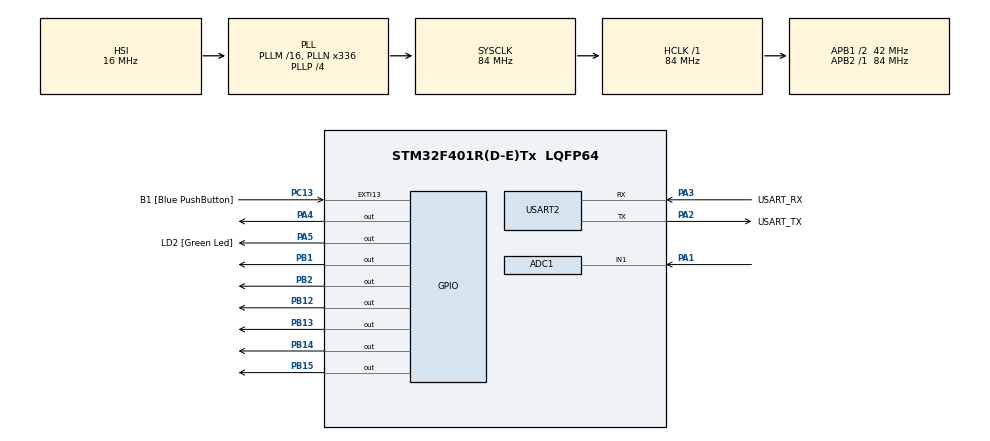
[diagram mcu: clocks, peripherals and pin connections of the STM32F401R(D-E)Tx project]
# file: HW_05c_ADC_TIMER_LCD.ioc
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ADC1.Channel-0\#ChannelRegularConversion=ADC_CHANNEL_1
ADC1.ExternalTrigConv=ADC_EXTERNALTRIGCONV_T2_TRGO
ADC1.NbrOfConversionFlag=1
ADC1.Rank-0\#ChannelRegularConversion=1
ADC1.SamplingTime-0\#ChannelRegularConversion=ADC_SAMPLETIME_480CYCLES
ADC1.master=1
Mcu.Family=STM32F4
Mcu.Name=STM32F401R(D-E)Tx
Mcu.Package=LQFP64
NVIC.ADC_IRQn=true\:0\:0\:false\:false\:true\:true\:true\:true
NVIC.PriorityGroup=NVIC_PRIORITYGROUP_0
PA1.Signal=ADCx_IN1
PA13.GPIO_Label=TMS
PA13.Mode=Serial_Wire
PA13.Signal=SYS_JTMS-SWDIO
PA14.GPIO_Label=TCK
PA14.Mode=Serial_Wire
PA14.Signal=SYS_JTCK-SWCLK
PA2.GPIO_Label=USART_TX
PA2.GPIO_Mode=GPIO_MODE_AF_PP
PA2.GPIO_PuPd=GPIO_NOPULL
PA2.GPIO_Speed=GPIO_SPEED_FREQ_LOW
PA2.Mode=Asynchronous
PA2.Signal=USART2_TX
PA3.GPIO_Label=USART_RX
PA3.GPIO_Mode=GPIO_MODE_AF_PP
PA3.GPIO_PuPd=GPIO_NOPULL
PA3.GPIO_Speed=GPIO_SPEED_FREQ_LOW
PA3.Mode=Asynchronous
PA3.Signal=USART2_RX
PA4.Signal=GPIO_Output
PA5.GPIO_Label=LD2 [Green Led]
PA5.GPIO_Mode=GPIO_MODE_OUTPUT_PP
PA5.GPIO_PuPd=GPIO_NOPULL
PA5.GPIO_Speed=GPIO_SPEED_FREQ_LOW
PA5.Signal=GPIO_Output
PB1.Signal=GPIO_Output
PB12.Signal=GPIO_Output
PB13.Signal=GPIO_Output
PB14.Signal=GPIO_Output
PB15.Signal=GPIO_Output
PB2.Signal=GPIO_Output
PB3.GPIO_Label=SWO
PB3.Signal=SYS_JTDO-SWO
PC13-ANTI_TAMP.GPIO_Label=B1 [Blue PushButton]
PC13-ANTI_TAMP.GPIO_ModeDefaultEXTI=GPIO_MODE_IT_FALLING
PC13-ANTI_TAMP.GPIO_PuPd=GPIO_NOPULL
PC13-ANTI_TAMP.Signal=GPXTI13
PC14-OSC32_IN.Mode=LSE-External-Oscillator
PC14-OSC32_IN.Signal=RCC_OSC32_IN
PC15-OSC32_OUT.Mode=LSE-External-Oscillator
PC15-OSC32_OUT.Signal=RCC_OSC32_OUT
PH0\ -\ OSC_IN.Mode=HSE-External-Clock-Source
PH0\ -\ OSC_IN.Signal=RCC_OSC_IN
PH1\ -\ OSC_OUT.Mode=HSE-External-Clock-Source
PH1\ -\ OSC_OUT.Signal=RCC_OSC_OUT
ProjectManager.HeapSize=0x200
ProjectManager.StackSize=0x400
ProjectManager.TargetToolchain=STM32CubeIDE
RCC.48MHZClocksFreq_Value=48000000
RCC.AHBFreq_Value=84000000
RCC.APB1CLKDivider=RCC_HCLK_DIV2
RCC.APB1Freq_Value=42000000
RCC.APB1TimFreq_Value=84000000
RCC.APB2Freq_Value=84000000
RCC.APB2TimFreq_Value=84000000
RCC.CortexFreq_Value=84000000
RCC.HCLKFreq_Value=84000000
RCC.HSE_VALUE=8000000
RCC.HSI_VALUE=16000000
RCC.PLLN=336
RCC.PLLP=RCC_PLLP_DIV4
RCC.PLLQ=7
RCC.SYSCLKFreq_VALUE=84000000
RCC.SYSCLKSource=RCC_SYSCLKSOURCE_PLLCLK
RCC.VCOOutputFreq_Value=336000000
SH.ADCx_IN1.0=ADC1_IN1,IN1
TIM2.Period=10000-1
TIM2.Prescaler=8400-1
TIM2.TIM_MasterOutputTrigger=TIM_TRGO_UPDATE
USART2.VirtualMode=VM_ASYNC
VP_TIM2_VS_ClockSourceINT.Mode=Internal
board=NUCLEO-F401RE

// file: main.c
/* USER CODE BEGIN Header */
/**
  ******************************************************************************
  * @file           : main.c
  * @brief          : Main program body
  ******************************************************************************
  * @attention
  *
  * Copyright (c) 2024 STMicroelectronics.
  * All rights reserved.
  *
  * This software is licensed under terms that can be found in the LICENSE file
  * in the root directory of this software component.
  * If no LICENSE file comes with this software, it is provided AS-IS.
  *
  ******************************************************************************
  */
/* USER CODE END Header */
#include "main.h"

/* USER CODE BEGIN Includes */

#include "string.h"
#include "PMDB16_LCD.h"

/* USER CODE END Includes */

/* USER CODE BEGIN PD */

#define STR_LEN 16

#define LSB 3.3/4096.0

#define BAR_STEP 80.0/4096.0

/* USER CODE END PD */

ADC_HandleTypeDef hadc1;

TIM_HandleTypeDef htim2;

UART_HandleTypeDef huart2;

/* USER CODE BEGIN PV */

char string[STR_LEN];

int digital_voltage;

float analog_voltage;

int length;

int bar_value;

/* USER CODE END PV */

void SystemClock_Config(void);
static void MX_GPIO_Init(void);
static void MX_USART2_UART_Init(void);
static void MX_ADC1_Init(void);
static void MX_TIM2_Init(void);

/* USER CODE BEGIN 0 */

void HAL_ADC_ConvCpltCallback (ADC_HandleTypeDef *hadc) {
	if (hadc == &hadc1) {
		digital_voltage = HAL_ADC_GetValue(&hadc1);
		analog_voltage = LSB*digital_voltage;
		length = snprintf(string, sizeof(string), "Voltage: %.3fV", analog_voltage);
		lcd_println(string, 0);
		lcd_drawBar(BAR_STEP*digital_voltage);
	}
}

/* USER CODE END 0 */

int main(void)
{

  /* MCU Configuration--------------------------------------------------------*/

  /* Reset of all peripherals, Initializes the Flash interface and the Systick. */
  HAL_Init();

  /* Configure the system clock */
  SystemClock_Config();

  /* Initialize all configured peripherals */
  MX_GPIO_Init();
  MX_USART2_UART_Init();
  MX_ADC1_Init();
  MX_TIM2_Init();
  /* USER CODE BEGIN 2 */

  lcd_initialize();
  lcd_backlight_ON();

  HAL_ADC_Start_IT(&hadc1);
  __HAL_TIM_SET_COUNTER(&htim2, 0);
  HAL_TIM_Base_Start(&htim2);

  /* USER CODE END 2 */

  /* Infinite loop */
  while (1)
  {

  }
}

void SystemClock_Config(void)
{
  RCC_OscInitTypeDef RCC_OscInitStruct = {0};
  RCC_ClkInitTypeDef RCC_ClkInitStruct = {0};

  /** Configure the main internal regulator output voltage
  */
  __HAL_RCC_PWR_CLK_ENABLE();
  __HAL_PWR_VOLTAGESCALING_CONFIG(PWR_REGULATOR_VOLTAGE_SCALE2);

  /** Initializes the RCC Oscillators according to the specified parameters
  * in the RCC_OscInitTypeDef structure.
  */
  RCC_OscInitStruct.OscillatorType = RCC_OSCILLATORTYPE_HSI;
  RCC_OscInitStruct.HSIState = RCC_HSI_ON;
  RCC_OscInitStruct.HSICalibrationValue = RCC_HSICALIBRATION_DEFAULT;
  RCC_OscInitStruct.PLL.PLLState = RCC_PLL_ON;
  RCC_OscInitStruct.PLL.PLLSource = RCC_PLLSOURCE_HSI;
  RCC_OscInitStruct.PLL.PLLM = 16;
  RCC_OscInitStruct.PLL.PLLN = 336;
  RCC_OscInitStruct.PLL.PLLP = RCC_PLLP_DIV4;
  RCC_OscInitStruct.PLL.PLLQ = 7;
  if (HAL_RCC_OscConfig(&RCC_OscInitStruct) != HAL_OK)
  {
    Error_Handler();
  }

  /** Initializes the CPU, AHB and APB buses clocks
  */
  RCC_ClkInitStruct.ClockType = RCC_CLOCKTYPE_HCLK|RCC_CLOCKTYPE_SYSCLK
                              |RCC_CLOCKTYPE_PCLK1|RCC_CLOCKTYPE_PCLK2;
  RCC_ClkInitStruct.SYSCLKSource = RCC_SYSCLKSOURCE_PLLCLK;
  RCC_ClkInitStruct.AHBCLKDivider = RCC_SYSCLK_DIV1;
  RCC_ClkInitStruct.APB1CLKDivider = RCC_HCLK_DIV2;
  RCC_ClkInitStruct.APB2CLKDivider = RCC_HCLK_DIV1;

  if (HAL_RCC_ClockConfig(&RCC_ClkInitStruct, FLASH_LATENCY_2) != HAL_OK)
  {
    Error_Handler();
  }
}

static void MX_ADC1_Init(void)
{

  ADC_ChannelConfTypeDef sConfig = {0};

  /** Configure the global features of the ADC (Clock, Resolution, Data Alignment and number of conversion)
  */
  hadc1.Instance = ADC1;
  hadc1.Init.ClockPrescaler = ADC_CLOCK_SYNC_PCLK_DIV4;
  hadc1.Init.Resolution = ADC_RESOLUTION_12B;
  hadc1.Init.ScanConvMode = DISABLE;
  hadc1.Init.ContinuousConvMode = DISABLE;
  hadc1.Init.DiscontinuousConvMode = DISABLE;
  hadc1.Init.ExternalTrigConvEdge = ADC_EXTERNALTRIGCONVEDGE_RISING;
  hadc1.Init.ExternalTrigConv = ADC_EXTERNALTRIGCONV_T2_TRGO;
  hadc1.Init.DataAlign = ADC_DATAALIGN_RIGHT;
  hadc1.Init.NbrOfConversion = 1;
  hadc1.Init.DMAContinuousRequests = DISABLE;
  hadc1.Init.EOCSelection = ADC_EOC_SINGLE_CONV;
  if (HAL_ADC_Init(&hadc1) != HAL_OK)
  {
    Error_Handler();
  }

  /** Configure for the selected ADC regular channel its corresponding rank in the sequencer and its sample time.
  */
  sConfig.Channel = ADC_CHANNEL_1;
  sConfig.Rank = 1;
  sConfig.SamplingTime = ADC_SAMPLETIME_480CYCLES;
  if (HAL_ADC_ConfigChannel(&hadc1, &sConfig) != HAL_OK)
  {
    Error_Handler();
  }

}

static void MX_TIM2_Init(void)
{

  TIM_ClockConfigTypeDef sClockSourceConfig = {0};
  TIM_MasterConfigTypeDef sMasterConfig = {0};

  htim2.Instance = TIM2;
  htim2.Init.Prescaler = 8400-1;
  htim2.Init.CounterMode = TIM_COUNTERMODE_UP;
  htim2.Init.Period = 10000-1;
  htim2.Init.ClockDivision = TIM_CLOCKDIVISION_DIV1;
  htim2.Init.AutoReloadPreload = TIM_AUTORELOAD_PRELOAD_DISABLE;
  if (HAL_TIM_Base_Init(&htim2) != HAL_OK)
  {
    Error_Handler();
  }
  sClockSourceConfig.ClockSource = TIM_CLOCKSOURCE_INTERNAL;
  if (HAL_TIM_ConfigClockSource(&htim2, &sClockSourceConfig) != HAL_OK)
  {
    Error_Handler();
  }
  sMasterConfig.MasterOutputTrigger = TIM_TRGO_UPDATE;
  sMasterConfig.MasterSlaveMode = TIM_MASTERSLAVEMODE_DISABLE;
  if (HAL_TIMEx_MasterConfigSynchronization(&htim2, &sMasterConfig) != HAL_OK)
  {
    Error_Handler();
  }

}

static void MX_USART2_UART_Init(void)
{

  huart2.Instance = USART2;
  huart2.Init.BaudRate = 115200;
  huart2.Init.WordLength = UART_WORDLENGTH_8B;
  huart2.Init.StopBits = UART_STOPBITS_1;
  huart2.Init.Parity = UART_PARITY_NONE;
  huart2.Init.Mode = UART_MODE_TX_RX;
  huart2.Init.HwFlowCtl = UART_HWCONTROL_NONE;
  huart2.Init.OverSampling = UART_OVERSAMPLING_16;
  if (HAL_UART_Init(&huart2) != HAL_OK)
  {
    Error_Handler();
  }

}

static void MX_GPIO_Init(void)
{
  GPIO_InitTypeDef GPIO_InitStruct = {0};

  /* GPIO Ports Clock Enable */
  __HAL_RCC_GPIOC_CLK_ENABLE();
  __HAL_RCC_GPIOH_CLK_ENABLE();
  __HAL_RCC_GPIOA_CLK_ENABLE();
  __HAL_RCC_GPIOB_CLK_ENABLE();

  /*Configure GPIO pin Output Level */
  HAL_GPIO_WritePin(GPIOA, GPIO_PIN_4|LD2_Pin, GPIO_PIN_RESET);

  /*Configure GPIO pin Output Level */
  HAL_GPIO_WritePin(GPIOB, GPIO_PIN_1|GPIO_PIN_2|GPIO_PIN_12|GPIO_PIN_13
                          |GPIO_PIN_14|GPIO_PIN_15, GPIO_PIN_RESET);

  /*Configure GPIO pin : B1_Pin */
  GPIO_InitStruct.Pin = B1_Pin;
  GPIO_InitStruct.Mode = GPIO_MODE_IT_FALLING;
  GPIO_InitStruct.Pull = GPIO_NOPULL;
  HAL_GPIO_Init(B1_GPIO_Port, &GPIO_InitStruct);

  /*Configure GPIO pins : PA4 LD2_Pin */
  GPIO_InitStruct.Pin = GPIO_PIN_4|LD2_Pin;
  GPIO_InitStruct.Mode = GPIO_MODE_OUTPUT_PP;
  GPIO_InitStruct.Pull = GPIO_NOPULL;
  GPIO_InitStruct.Speed = GPIO_SPEED_FREQ_LOW;
  HAL_GPIO_Init(GPIOA, &GPIO_InitStruct);

  /*Configure GPIO pins : PB1 PB2 PB12 PB13
                           PB14 PB15 */
  GPIO_InitStruct.Pin = GPIO_PIN_1|GPIO_PIN_2|GPIO_PIN_12|GPIO_PIN_13
                          |GPIO_PIN_14|GPIO_PIN_15;
  GPIO_InitStruct.Mode = GPIO_MODE_OUTPUT_PP;
  GPIO_InitStruct.Pull = GPIO_NOPULL;
  GPIO_InitStruct.Speed = GPIO_SPEED_FREQ_LOW;
  HAL_GPIO_Init(GPIOB, &GPIO_InitStruct);

}

void Error_Handler(void)
{
  __disable_irq();
  while (1)
  {
  }
}
